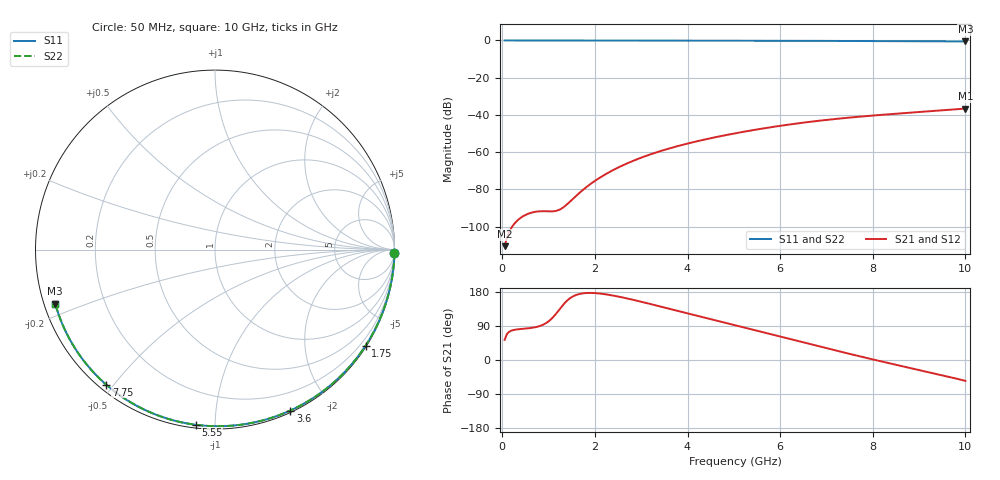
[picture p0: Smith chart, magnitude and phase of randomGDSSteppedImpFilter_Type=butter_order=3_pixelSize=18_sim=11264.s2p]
! freq	dB(S11)	phase(S11)	dB(S12)	phase(S12)
!  dB(S21)	phase(S21)	dB(S22)	phase(S22)
!S-par simulation data
#  GHz  S  DB  R 50
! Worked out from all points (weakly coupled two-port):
!   200 points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, 50 MHz to 10 GHz, reference 50 ohm
!   highest |S21| = -36.57 dB at 10 GHz (marker M1); lowest = -110.4 dB at 50 MHz (marker M2)
!   lowest |S11| = -0.5 dB at 10 GHz (marker M3), VSWR 32.24, Z = 1.59 - j8.25 ohm
!   |S11| at or under -10 dB: nowhere
!   |S22| runs from -0.5 to 0.0 dB; largest |S21 - S12| = 0
!   S11 on the Smith chart (normalised r, x): 50 MHz: open; 1.75 GHz: 0.03, -3.43; 3.6 GHz: 0.02, -1.57; 5.55 GHz: 0.02, -0.90; 7.75 GHz: 0.02, -0.48; 10 GHz: 0.03, -0.16
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0.05  -0.00 -0.9  -110.42 53.3  -110.42 53.3  -0.00 -0.9
0.45  -0.01 -8.5  -94.34 82.4  -94.34 82.4  -0.01 -8.5
0.85  -0.02 -16.0  -91.66 91.5  -91.66 91.5  -0.02 -16.0
1.3  -0.03 -24.3  -89.92 143.8  -89.92 143.8  -0.03 -24.3
1.75  -0.04 -32.5  -80.05 176.0  -80.05 176.0  -0.04 -32.5
1.95  -0.05 -36.1  -76.25 176.9  -76.25 176.9  -0.05 -36.1
2.1  -0.05 -38.8  -73.76 175.5  -73.76 175.5  -0.05 -38.8
2.45  -0.06 -45.1  -68.85 168.7  -68.85 168.7  -0.06 -45.1
2.65  -0.06 -48.6  -66.48 163.7  -66.48 163.7  -0.06 -48.6
2.9  -0.07 -53.0  -63.87 156.7  -63.87 156.7  -0.07 -53.0
3.4  -0.08 -61.6  -59.50 141.6  -59.50 141.6  -0.08 -61.6
3.6  -0.09 -64.9  -58.01 135.4  -58.01 135.4  -0.09 -64.9
4.25  -0.11 -75.7  -53.86 115.4  -53.86 115.4  -0.11 -75.7
5.05  -0.14 -88.5  -49.75 91.0  -49.75 91.0  -0.14 -88.5
5.55  -0.16 -96.3  -47.57 75.8  -47.57 75.8  -0.16 -96.3
6.1  -0.19 -104.7  -45.47 59.0  -45.47 59.0  -0.19 -104.7
6.7  -0.22 -113.6  -43.51 40.5  -43.51 40.5  -0.22 -113.6
7.2  -0.25 -120.9  -42.13 25.2  -42.13 25.2  -0.25 -120.9
7.75  -0.30 -128.8  -40.84 8.8  -40.84 8.8  -0.30 -128.8
8.35  -0.35 -137.4  -39.62 -8.4  -39.62 -8.4  -0.35 -137.4
9.2  -0.44 -149.6  -38.04 -32.0  -38.04 -32.0  -0.44 -149.6
10  -0.54 -161.3  -36.57 -55.0  -36.57 -55.0  -0.54 -161.2
